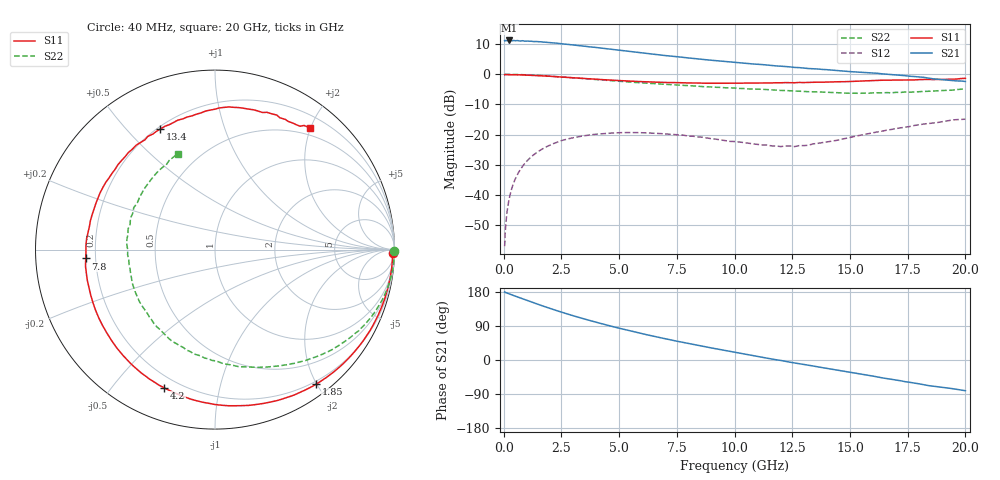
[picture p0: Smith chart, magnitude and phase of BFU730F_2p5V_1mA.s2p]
! Filename:  P:\Prog\Test\Noise\ATS_data\Testdata_Net\Split files Spar\BFU730_2W_B1_Bias1_2.5V_1mA_25mA_D.s2p
! Date/Time: Fri 29/Apr/2011 15:07:16
! BFU730_2W_B1_Bias1_2.5V_1mA_25mA_R.s2p
! MDIF S-parameter v. bias file
! BFU730_2W_B1_2.5V_1mA_25mA
! Date/time Thu Mar 17 13:38:09 2011
! bias mode 1
! bias variable = I_out
! VAR bias_var= 1
! VAR V_out= 2.5000
! VAR I_out= 1.0650
! VAR V_in= 0.7484
! VAR I_in= 0.0026
! Device data file deembeded for feedlines and parallel
! Original file: \Split files Spar\BFU730_2W_B1_Bias1_2.5V_1mA_25mA_R.s2p
! Feed-files: PR003V01_101208_Feed1.s2p, PR003V01_101208_Feed2.s2p
! Parallel-file: PR003V01_101208_Par.s2p
# MHz S MA R 50
!  Freq-MHz  S11-mag  S11-arg  S21-mag  S21-arg  S12-mag  S12-arg  S22-mag  S22-arg
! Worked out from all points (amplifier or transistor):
!   167 points, 40 MHz to 20 GHz, reference 50 ohm
!   highest |S21| = 11.3 dB at 240 MHz (marker M1)
!   |S21| within 3 dB of that: start of sweep to 4.718 GHz
!   unconditionally stable (mu >= 1): 9.325 GHz to 16.87 GHz
!   at 550 MHz: K = 0.01, MSG = 22.6 dB, |S12| = -34.0 dB
!   at 4.2 GHz: K = 0.28, MSG = 14.2 dB, |S12| = -19.8 dB
!   at 20 GHz: K = 0.72, MSG = 6.3 dB, |S12| = -14.9 dB
!   S11 on the Smith chart (normalised r, x): 40 MHz: 35, -78; 1.85 GHz: 0.16, -1.99; 4.2 GHz: 0.15, -0.69; 7.8 GHz: 0.16, -0.03; 13.4 GHz: 0.21, +0.62; 20 GHz: 0.38, +1.99
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40  0.9905 -1.2  3.638 179.4  0.001394 84.5  0.9993 -0.5
60  0.9884 -1.8  3.605 178.3  0.002141 91.2  0.9994 -0.8
120  0.9899 -3.5  3.631 177.3  0.004241 87.9  0.9994 -1.6
240  0.9891 -7.0  3.66 174.5  0.008605 86.3  0.9989 -3.2
480  0.986 -14.1  3.641 169.0  0.01748 82.0  0.9963 -6.4
800  0.978 -23.4  3.623 161.8  0.02904 75.6  0.9886 -10.7
1400  0.9574 -40.5  3.515 148.7  0.04922 64.0  0.9662 -18.5
1850  0.9379 -53.0  3.408 139.2  0.06251 55.8  0.9444 -24.1
2450  0.906 -68.9  3.249 127.3  0.07794 45.7  0.9084 -31.1
3400  0.8575 -92.3  2.97 109.9  0.09425 30.6  0.8543 -41.2
4200  0.8204 -110.3  2.736 96.5  0.1029 19.8  0.8078 -48.8
4900  0.7925 -125.0  2.541 85.4  0.1069 11.1  0.7719 -55.2
5600  0.7673 -138.7  2.364 75.0  0.1078 3.2  0.7382 -61.5
6800  0.7372 -160.0  2.093 58.7  0.1036 -8.3  0.6901 -71.7
7800  0.722 -176.1  1.908 45.8  0.09745 -15.8  0.6542 -80.9
8800  0.7115 169.3  1.744 33.9  0.08781 -20.9  0.6199 -89.7
10200  0.7143 150.8  1.562 18.1  0.07521 -22.1  0.5845 -103.8
12000  0.7244 129.6  1.369 -1.1  0.06306 -14.0  0.5406 -124.4
13400  0.7379 114.4  1.241 -15.8  0.06982 -2.3  0.5134 -142.5
14600  0.7549 101.8  1.144 -28.4  0.08293 3.0  0.4918 -160.9
16800  0.8021 80.6  0.9856 -50.8  0.1214 -1.5  0.4932 163.3
20000  0.8605 52.0  0.7618 -81.1  0.1801 -23.7  0.5731 111.0
